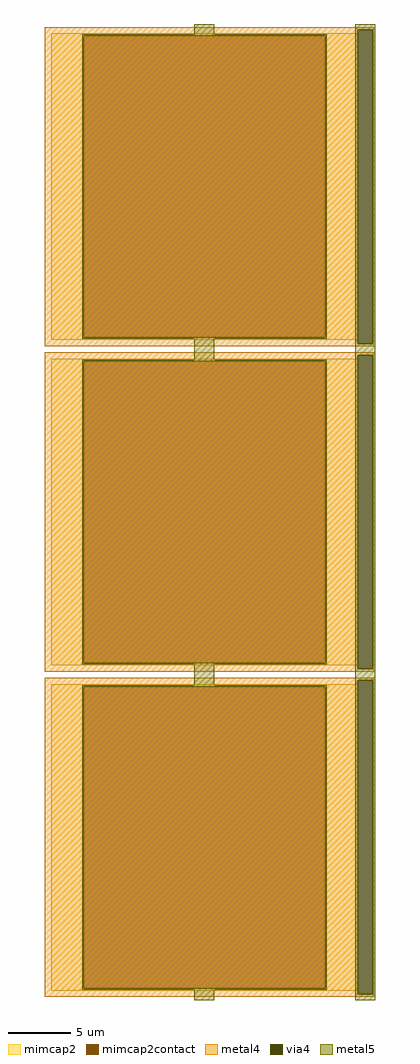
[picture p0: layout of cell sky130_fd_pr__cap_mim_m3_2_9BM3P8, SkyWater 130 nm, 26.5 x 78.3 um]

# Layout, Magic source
magic
tech sky130A
magscale 1 2
<< metal4 >>
rect -2639 7739 2639 7780
rect -2639 2701 2383 7739
rect 2619 2701 2639 7739
rect -2639 2660 2639 2701
rect -2639 2519 2639 2560
rect -2639 -2519 2383 2519
rect 2619 -2519 2639 2519
rect -2639 -2560 2639 -2519
rect -2639 -2701 2639 -2660
rect -2639 -7739 2383 -2701
rect 2619 -7739 2639 -2701
rect -2639 -7780 2639 -7739
<< via4 >>
rect 2383 2701 2619 7739
rect 2383 -2519 2619 2519
rect 2383 -7739 2619 -2701
<< mimcap2 >>
rect -2539 7640 2381 7680
rect -2539 2800 -2015 7640
rect 1857 2800 2381 7640
rect -2539 2760 2381 2800
rect -2539 2420 2381 2460
rect -2539 -2420 -2015 2420
rect 1857 -2420 2381 2420
rect -2539 -2460 2381 -2420
rect -2539 -2800 2381 -2760
rect -2539 -7640 -2015 -2800
rect 1857 -7640 2381 -2800
rect -2539 -7680 2381 -7640
<< mimcap2contact >>
rect -2015 2800 1857 7640
rect -2015 -2420 1857 2420
rect -2015 -7640 1857 -2800
<< metal5 >>
rect -239 7664 81 7830
rect 2341 7739 2661 7830
rect -2039 7640 1881 7664
rect -2039 2800 -2015 7640
rect 1857 2800 1881 7640
rect -2039 2776 1881 2800
rect -239 2444 81 2776
rect 2341 2701 2383 7739
rect 2619 2701 2661 7739
rect 2341 2519 2661 2701
rect -2039 2420 1881 2444
rect -2039 -2420 -2015 2420
rect 1857 -2420 1881 2420
rect -2039 -2444 1881 -2420
rect -239 -2776 81 -2444
rect 2341 -2519 2383 2519
rect 2619 -2519 2661 2519
rect 2341 -2701 2661 -2519
rect -2039 -2800 1881 -2776
rect -2039 -7640 -2015 -2800
rect 1857 -7640 1881 -2800
rect -2039 -7664 1881 -7640
rect -239 -7830 81 -7664
rect 2341 -7739 2383 -2701
rect 2619 -7739 2661 -2701
rect 2341 -7830 2661 -7739
<< properties >>
string FIXED_BBOX -2639 2660 2481 7780
string gencell sky130_fd_pr__cap_mim_m3_2
string library sky130
string parameters w 24.6 l 24.6 val 1.229k carea 2.00 cperi 0.19 nx 1 ny 3 dummy 0 square 0 lmin 2.00 wmin 2.00 lmax 30.0 wmax 30.0 dc 0 bconnect 1 tconnect 1 ccov 80
<< end >>
